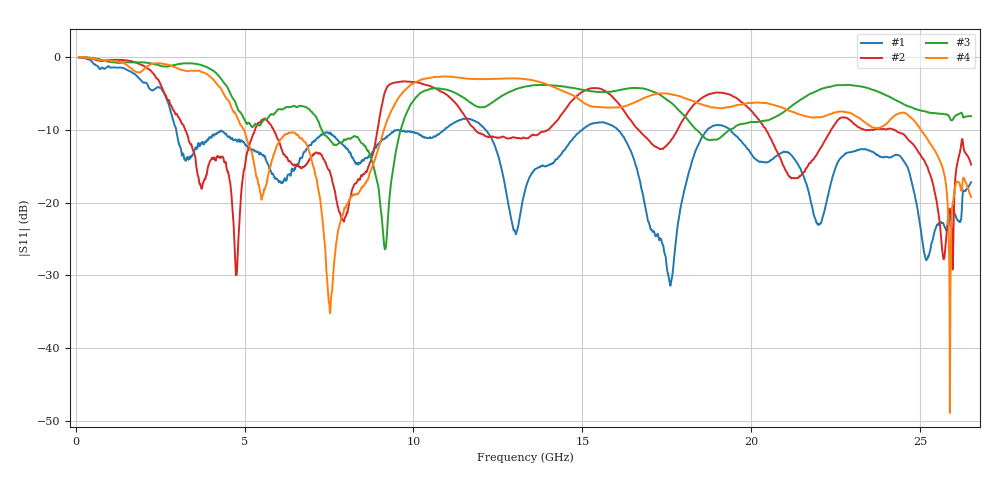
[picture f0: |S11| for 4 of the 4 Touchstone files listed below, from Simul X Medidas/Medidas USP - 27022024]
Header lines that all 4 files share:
!Keysight Technologies,N5222B,MY60213399,A.14.00.23
!Correction: S11(C  1-Port  )
!S21(Off)
!S12(Off)
!S22(Off)
!S2P File: Measurement: :
# Hz S  dB  R 50
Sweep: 100 MHz to 26.5 GHz
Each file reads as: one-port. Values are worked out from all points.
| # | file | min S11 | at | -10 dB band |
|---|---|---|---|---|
| 1 | cardioide_100M_to_26_5G.s2p | -31.4 dB | 17.6 GHz | over 7.132 GHz wide |
| 2 | koch_100M_to_26_5G.s2p | -30.0 dB | 4.761 GHz | 3.075 GHz wide |
| 3 | sierp_v1_100M_to_26_5G.s2p | -26.4 dB | 9.159 GHz | 2.332 GHz wide |
| 4 | sierp_v4_100M_to_26_5G.s2p | -48.9 dB | 25.87 GHz | 4.137 GHz wide |
